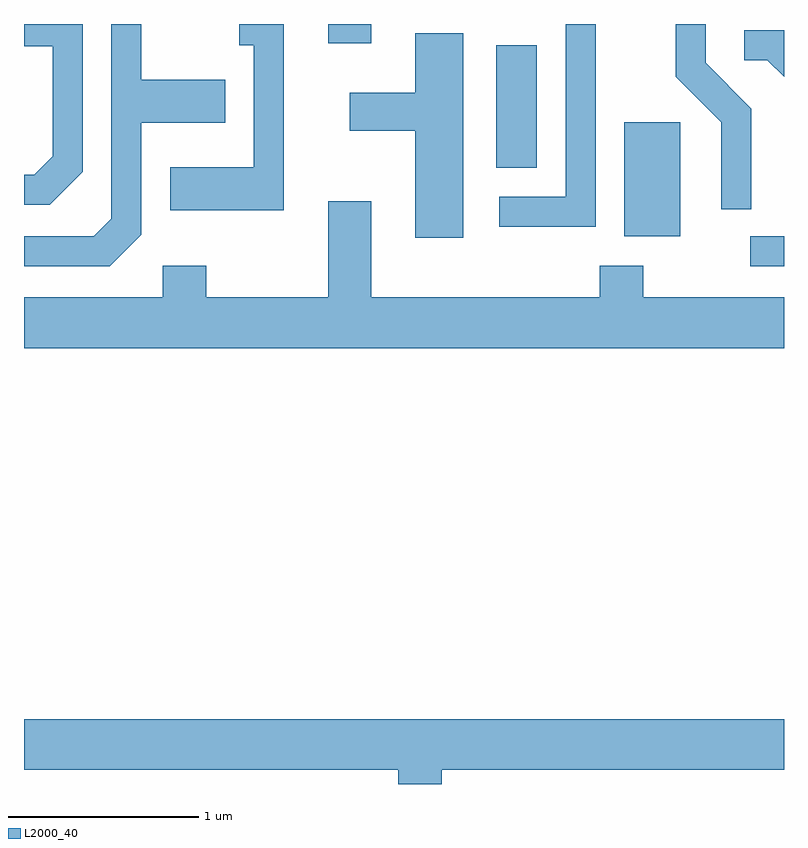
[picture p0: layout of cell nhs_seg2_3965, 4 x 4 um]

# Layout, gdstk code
import gdstk
lib = gdstk.Library(unit=1e-6, precision=1e-09)
def R(c, l, rs):  # rectangles x0, y0, x1, y1
    for r in rs: c.add(gdstk.rectangle(r[:2], r[2:], *l))
def P(c, l, *ps):  # polygons
    for p in ps: c.add(gdstk.Polygon(p, *l))
L2000_40 = (2000, 40)

nhs_seg2_3965 = lib.new_cell('nhs_seg2_3965')
R(nhs_seg2_3965, L2000_40, [(305.433,1046.526,305.611,1046.684), (304.771,1046.686,305.064,1047.284), (304.096,1047.046,304.309,1047.689), (303.211,1047.701,303.439,1047.802)])
P(nhs_seg2_3965, L2000_40, [(302.229,1046.694),(302.229,1047.281),(302.669,1047.281),(302.669,1047.509),(302.229,1047.509),(302.229,1047.802),(302.071,1047.802),(302.071,1046.777),(301.979,1046.684),(301.611,1046.684),(301.611,1046.526),(302.062,1046.526)],
  [(301.919,1047.024),(301.919,1047.802),(301.611,1047.802),(301.611,1047.686),(301.761,1047.686),(301.761,1047.107),(301.664,1047.009),(301.611,1047.009),(301.611,1046.851),(301.747,1046.851)],
  [(302.979,1047.802),(302.743,1047.802),(302.743,1047.691),(302.821,1047.691),(302.821,1047.049),(302.381,1047.049),(302.381,1046.821),(302.979,1046.821)],
  [(304.619,1047.802),(304.461,1047.802),(304.461,1046.894),(304.113,1046.894),(304.113,1046.736),(304.619,1046.736)],
  [(305.439,1047.357),(305.199,1047.597),(305.199,1047.802),(305.041,1047.802),(305.041,1047.524),(305.281,1047.284),(305.281,1046.828),(305.439,1046.828)],
  [(305.611,1047.769),(305.403,1047.769),(305.403,1047.611),(305.524,1047.611),(305.611,1047.524)],
  [(303.924,1047.754),(303.671,1047.754),(303.671,1047.439),(303.326,1047.439),(303.326,1047.241),(303.671,1047.241),(303.671,1046.676),(303.924,1046.676)],
  [(305.611,1046.364),(304.869,1046.364),(304.869,1046.529),(304.641,1046.529),(304.641,1046.364),(303.439,1046.364),(303.439,1046.869),(303.211,1046.869),(303.211,1046.364),(302.569,1046.364),(302.569,1046.529),(302.341,1046.529),(302.341,1046.364),(301.611,1046.364),(301.611,1046.096),(305.611,1046.096)],
  [(303.809,1043.876),(305.611,1043.876),(305.611,1044.144),(301.611,1044.144),(301.611,1043.876),(303.581,1043.876),(303.581,1043.802),(303.809,1043.802)])

lib.write_gds('nhs_seg2_3965.gds')
